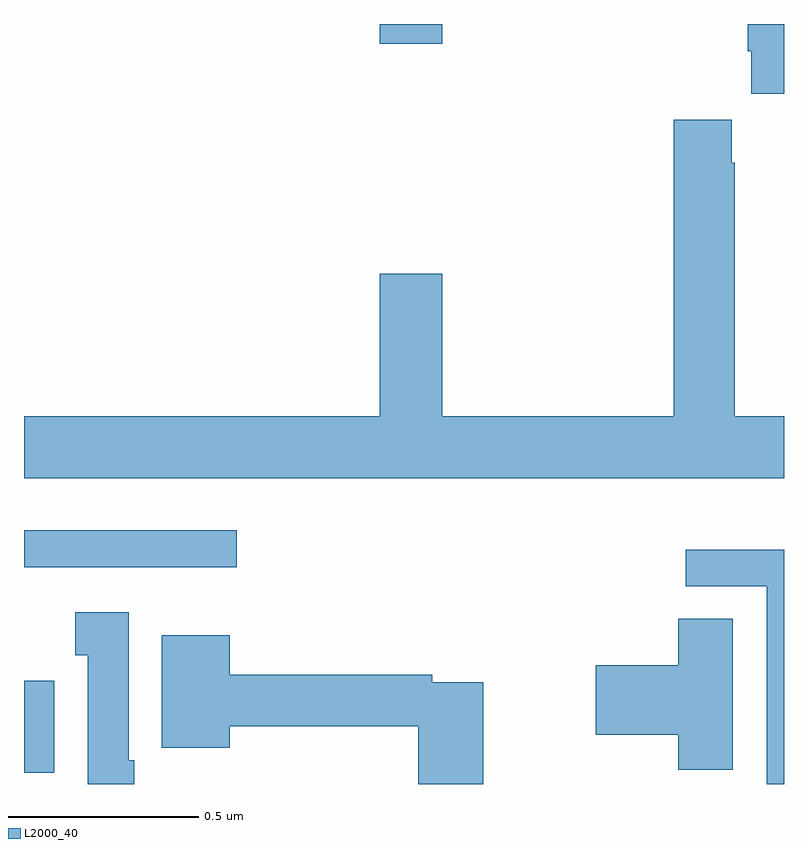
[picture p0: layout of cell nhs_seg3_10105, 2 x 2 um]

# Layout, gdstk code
import gdstk
lib = gdstk.Library(unit=1e-6, precision=1e-09)
def R(c, l, rs):  # rectangles x0, y0, x1, y1
    for r in rs: c.add(gdstk.rectangle(r[:2], r[2:], *l))
def P(c, l, *ps):  # polygons
    for p in ps: c.add(gdstk.Polygon(p, *l))
L2000_40 = (2000, 40)

nhs_seg3_10105 = lib.new_cell('nhs_seg3_10105')
R(nhs_seg3_10105, L2000_40, [(236,745.43,236.08,745.672), (236,745.971,236.56,746.068), (236.936,747.348,237.1,747.4)])
P(nhs_seg3_10105, L2000_40, [(238,747.4),(237.905,747.4),(237.905,747.328),(237.914,747.328),(237.914,747.216),(238,747.216)],
  [(238,746.368),(237.87,746.368),(237.87,747.035),(237.863,747.035),(237.863,747.148),(237.71,747.148),(237.71,746.368),(237.1,746.368),(237.1,746.743),(236.936,746.743),(236.936,746.368),(236,746.368),(236,746.204),(238,746.204)],
  [(238,746.016),(237.741,746.016),(237.741,745.92),(237.954,745.92),(237.954,745.4),(238,745.4)],
  [(236.29,745.462),(236.275,745.462),(236.275,745.852),(236.135,745.852),(236.135,745.739),(236.168,745.739),(236.168,745.4),(236.29,745.4)],
  [(237.865,745.835),(237.722,745.835),(237.722,745.712),(237.504,745.712),(237.504,745.529),(237.722,745.529),(237.722,745.438),(237.865,745.438)],
  [(237.208,745.668),(237.074,745.668),(237.074,745.688),(236.542,745.688),(236.542,745.792),(236.363,745.792),(236.363,745.496),(236.542,745.496),(236.542,745.552),(237.038,745.552),(237.038,745.4),(237.208,745.4)])

lib.write_gds('nhs_seg3_10105.gds')
